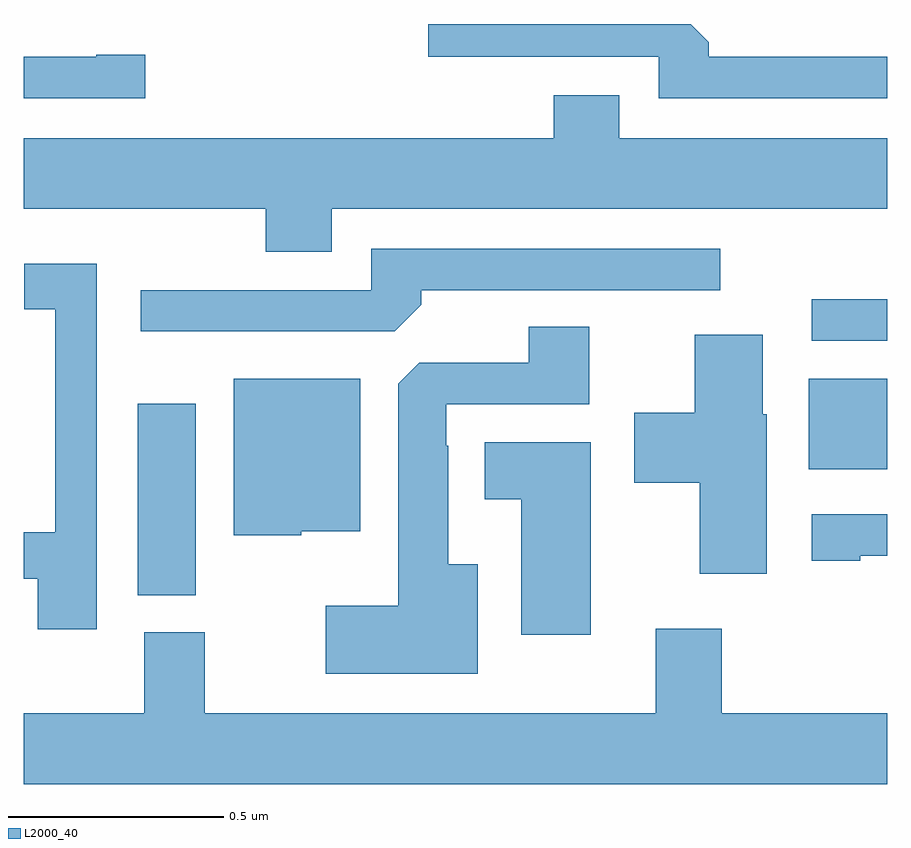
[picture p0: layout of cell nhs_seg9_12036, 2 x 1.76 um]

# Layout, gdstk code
import gdstk
lib = gdstk.Library(unit=1e-6, precision=1e-09)
def R(c, l, rs):  # rectangles x0, y0, x1, y1
    for r in rs: c.add(gdstk.rectangle(r[:2], r[2:], *l))
def P(c, l, *ps):  # polygons
    for p in ps: c.add(gdstk.Polygon(p, *l))
L2000_40 = (2000, 40)

nhs_seg9_12036 = lib.new_cell('nhs_seg9_12036')
R(nhs_seg9_12036, L2000_40, [(263.264,1210.177,263.398,1210.621), (264.818,1210.469,265,1210.678), (264.825,1210.767,265,1210.863)])
P(nhs_seg9_12036, L2000_40, [(265,1211.424),(264.587,1211.424),(264.587,1211.458),(264.545,1211.5),(263.937,1211.5),(263.937,1211.424),(264.471,1211.424),(264.471,1211.328),(265,1211.328)],
  [(263.281,1211.429),(263.168,1211.429),(263.168,1211.424),(263,1211.424),(263,1211.328),(263.281,1211.328)],
  [(263.713,1211.072),(265,1211.072),(265,1211.236),(264.379,1211.236),(264.379,1211.335),(264.227,1211.335),(264.227,1211.236),(263,1211.236),(263,1211.072),(263.561,1211.072),(263.561,1210.973),(263.713,1210.973)],
  [(263.921,1210.85),(263.921,1210.884),(264.613,1210.884),(264.613,1210.98),(263.805,1210.98),(263.805,1210.884),(263.271,1210.884),(263.271,1210.788),(263.859,1210.788)],
  [(263.169,1210.945),(263.001,1210.945),(263.001,1210.839),(263.073,1210.839),(263.073,1210.323),(263,1210.323),(263,1210.215),(263.033,1210.215),(263.033,1210.098),(263.169,1210.098)],
  [(264.052,1210.249),(263.983,1210.249),(263.983,1210.523),(263.979,1210.523),(263.979,1210.62),(264.31,1210.62),(264.31,1210.799),(264.17,1210.799),(264.17,1210.716),(263.916,1210.716),(263.867,1210.667),(263.867,1210.153),(263.7,1210.153),(263.7,1209.995),(264.052,1209.995)],
  [(264.721,1210.596),(264.712,1210.596),(264.712,1210.78),(264.554,1210.78),(264.554,1210.6),(264.414,1210.6),(264.414,1210.438),(264.566,1210.438),(264.566,1210.227),(264.721,1210.227)],
  [(263.643,1210.325),(263.779,1210.325),(263.779,1210.678),(263.486,1210.678),(263.486,1210.316),(263.643,1210.316)],
  [(264.313,1210.531),(264.068,1210.531),(264.068,1210.4),(264.152,1210.4),(264.152,1210.086),(264.313,1210.086)],
  [(264.937,1210.269),(265,1210.269),(265,1210.365),(264.825,1210.365),(264.825,1210.257),(264.937,1210.257)],
  [(265,1209.904),(264.617,1209.904),(264.617,1210.099),(264.464,1210.099),(264.464,1209.904),(263.419,1209.904),(263.419,1210.092),(263.279,1210.092),(263.279,1209.904),(263,1209.904),(263,1209.74),(265,1209.74)])

lib.write_gds('nhs_seg9_12036.gds')
